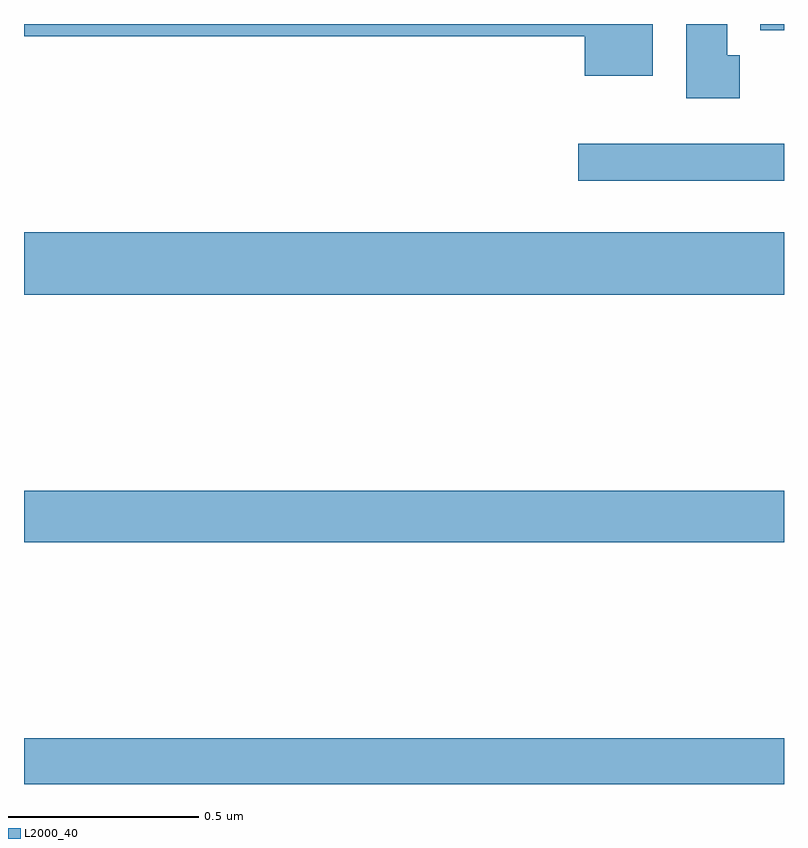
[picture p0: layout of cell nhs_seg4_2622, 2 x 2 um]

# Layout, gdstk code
import gdstk
lib = gdstk.Library(unit=1e-6, precision=1e-09)
def R(c, l, rs):  # rectangles x0, y0, x1, y1
    for r in rs: c.add(gdstk.rectangle(r[:2], r[2:], *l))
def P(c, l, *ps):  # polygons
    for p in ps: c.add(gdstk.Polygon(p, *l))
L2000_40 = (2000, 40)

nhs_seg4_2622 = lib.new_cell('nhs_seg4_2622')
R(nhs_seg4_2622, L2000_40, [(143,760.9,145,761.02), (143,761.536,145,761.672), (143,762.188,145,762.352), (144.459,762.488,145,762.585), (144.938,762.884,145,762.9)])
P(nhs_seg4_2622, L2000_40, [(144.655,762.9),(143,762.9),(143,762.868),(144.476,762.868),(144.476,762.764),(144.655,762.764)],
  [(144.883,762.818),(144.85,762.818),(144.85,762.9),(144.743,762.9),(144.743,762.705),(144.883,762.705)])

lib.write_gds('nhs_seg4_2622.gds')
